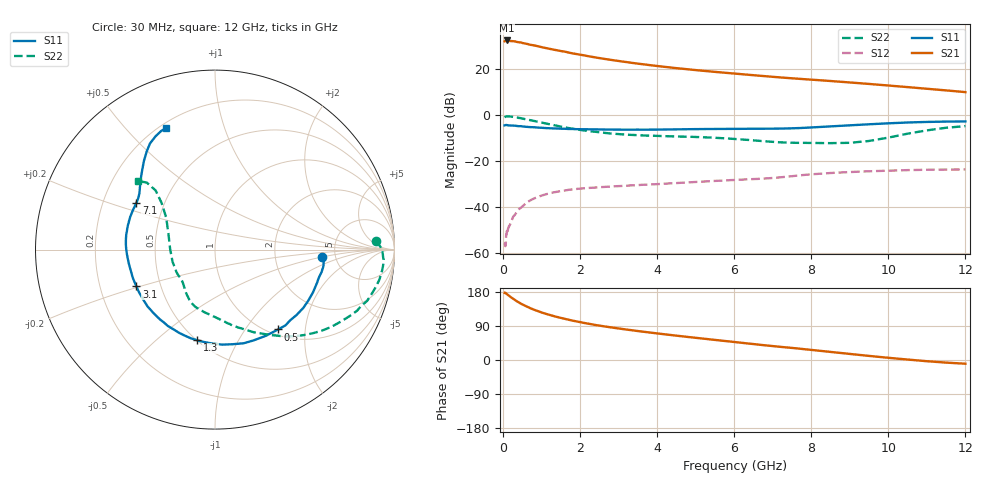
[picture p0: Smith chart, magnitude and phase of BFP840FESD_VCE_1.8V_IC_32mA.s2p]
! Infineon Technologies  Discrete & RF Semiconductors
! BFP840FESD
! VCE =  1.8 V,  IC =  32 mA
! Common Emitter S-Parameters:  May 2012
# GHz  S  MA  R  50
!  f  S11  S21  S12  S22
! GHz  MAG  ANG  MAG  ANG  MAG  ANG  MAG  ANG
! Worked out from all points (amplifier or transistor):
!   103 points, 30 MHz to 12 GHz, reference 50 ohm
!   highest |S21| = 32.6 dB at 80 MHz (marker M1)
!   |S21| within 3 dB of that: start of sweep to 1.016 GHz
!   unconditionally stable (mu >= 1): 4.786 GHz to end of sweep
!   at 400 MHz: K = 0.25, MSG = 36.4 dB, |S12| = -41.0 dB
!   at 3.7 GHz: K = 0.89, MSG = 26.2 dB, |S12| = -30.3 dB
!   at 12 GHz: K = 1.10, MAG = 15.0 dB, |S12| = -23.6 dB
!   S11 on the Smith chart (normalised r, x): 30 MHz: 3.94, -0.48; 500 MHz: 1.10, -1.44; 1.3 GHz: 0.50, -0.69; 3.1 GHz: 0.36, -0.19; 7.1 GHz: 0.35, +0.24; 12 GHz: 0.22, +0.65
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0.03  0.6 -3.7  40.68 177.0  0.0015 102.1  0.8961 3.1
0.05  0.6089 -6.0  41.77 177.3  0.0014 78.9  0.9212 1.0
0.08  0.61 -9.5  42.49 174.7  0.0025 75.6  0.9358 -1.8
0.13  0.5992 -15.5  41.35 170.7  0.0035 78.8  0.9404 -5.7
0.2  0.5957 -23.4  41.21 165.2  0.0047 80.9  0.9313 -10.3
0.3  0.5896 -33.4  40.56 158.3  0.0068 76.9  0.9062 -16.0
0.45  0.5766 -47.0  38.55 148.8  0.0096 69.9  0.8624 -23.2
0.5  0.5671 -51.7  37.3 146.3  0.0104 69.0  0.8417 -25.7
0.6  0.5576 -59.4  35.95 141.4  0.0124 66.3  0.8075 -29.8
0.8  0.5458 -72.9  33.15 132.5  0.0154 61.0  0.7472 -37.2
1  0.5309 -85.7  30.29 125.1  0.0178 56.6  0.6877 -43.8
1.3  0.515 -101.1  26.83 116.0  0.0208 51.0  0.6098 -52.3
1.7  0.5007 -117.8  23.09 106.1  0.0237 45.8  0.5234 -62.6
2.1  0.4936 -131.2  20.06 97.7  0.0255 42.4  0.4633 -71.4
2.6  0.4877 -144.5  16.96 89.0  0.0273 40.3  0.4146 -80.6
3.1  0.4834 -154.9  14.74 81.7  0.0288 39.1  0.3819 -88.2
4.1  0.487 -171.6  11.53 68.9  0.0318 39.1  0.3516 -100.7
6.1  0.5036 163.0  7.943 46.3  0.0391 40.2  0.2995 -121.1
7.1  0.5095 149.4  6.746 35.7  0.0436 42.6  0.259 -133.4
8.5  0.5705 136.5  5.556 21.3  0.055 38.8  0.246 -164.3
10.5  0.6934 121.5  4.092 1.2  0.0636 30.0  0.3957 138.8
12  0.731 111.7  3.183 -9.8  0.0657 26.3  0.5773 138.4
